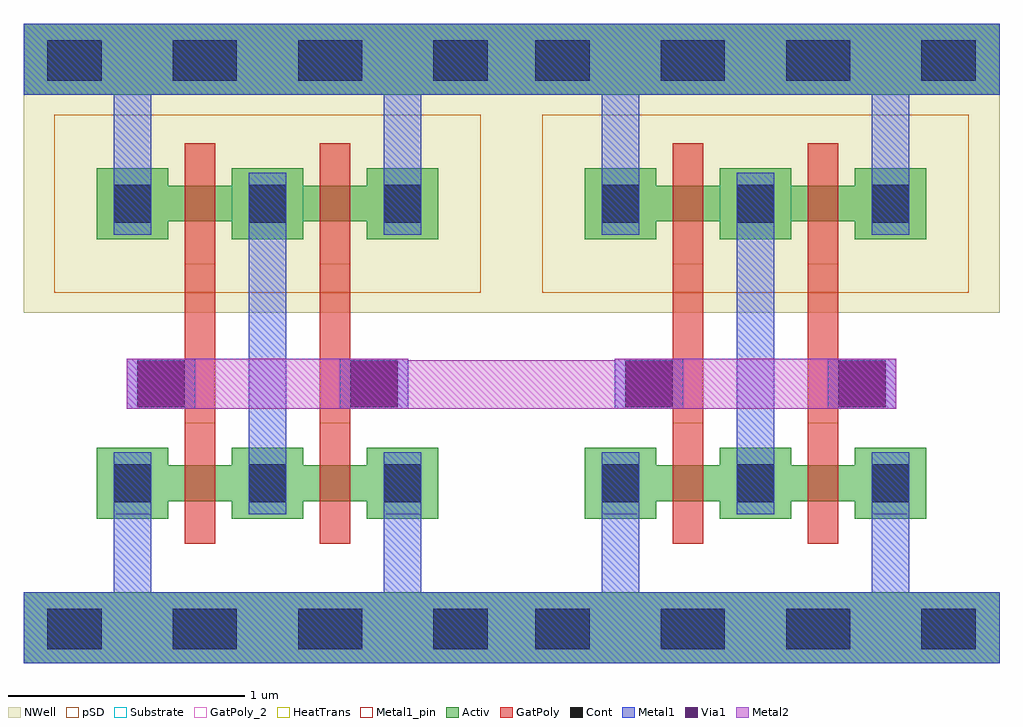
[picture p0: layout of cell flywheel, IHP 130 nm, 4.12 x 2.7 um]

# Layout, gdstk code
from math import pi, radians
import gdstk
lib = gdstk.Library(unit=1e-6, precision=5e-09)
def R(c, l, rs):  # rectangles x0, y0, x1, y1
    for r in rs: c.add(gdstk.rectangle(r[:2], r[2:], *l))
Activ = (1, 0)
GatPoly = (5, 0)
GatPoly_2 = (5, 2)
Cont = (6, 0)
Metal1 = (8, 0)
Metal1_pin = (8, 2)
Metal2 = (10, 0)
pSD = (14, 0)
Via1 = (19, 0)
NWell = (31, 0)
Substrate = (40, 0)
HeatTrans = (51, 0)

pmos_1 = lib.new_cell('pmos$1')
R(pmos_1, Activ, [(0,0,0.3,0.3), (0.57,0,0.87,0.3), (0,0.075,0.87,0.225)])
R(pmos_1, GatPoly, [(0.37,-0.105,0.5,0.405), (0.37,-0.105,0.5,0.405)])
R(pmos_1, Cont, [(0.07,0.07,0.23,0.23), (0.64,0.07,0.8,0.23)])
R(pmos_1, Metal1, [(0.07,0.02,0.23,0.28), (0.07,0.02,0.23,0.28), (0.64,0.02,0.8,0.28), (0.64,0.02,0.8,0.28)])
R(pmos_1, pSD, [(-0.18,-0.225,1.05,0.525)])
R(pmos_1, NWell, [(-0.31,-0.31,1.18,0.61)])
R(pmos_1, Substrate, [(0.57,0,0.87,0.3)])
R(pmos_1, HeatTrans, [(0.37,-0.105,0.5,0.405)])
pmos_1.add(gdstk.Label('pmos', (0.435,0.15), layer=63, texttype=0))
pmos_1.add(gdstk.Label('pmos', (0.435,0.15), layer=51, texttype=0))

nmos_1 = lib.new_cell('nmos$1')
R(nmos_1, Activ, [(0,0,0.3,0.3), (0.57,0,0.87,0.3), (0,0.075,0.87,0.225)])
R(nmos_1, GatPoly, [(0.37,-0.105,0.5,0.405)])
R(nmos_1, GatPoly_2, [(0.37,-0.105,0.5,0.405)])
R(nmos_1, Cont, [(0.07,0.07,0.23,0.23), (0.64,0.07,0.8,0.23)])
R(nmos_1, Metal1, [(0.07,0.02,0.23,0.28), (0.64,0.02,0.8,0.28)])
R(nmos_1, Metal1_pin, [(0.07,0.02,0.23,0.28), (0.64,0.02,0.8,0.28)])
R(nmos_1, HeatTrans, [(0.37,-0.105,0.5,0.405)])
nmos_1.add(gdstk.Label('nmos', (0.435,0.15), layer=63, texttype=0))
nmos_1.add(gdstk.Label('nmos', (0.435,0.15), layer=51, texttype=0))

inv = lib.new_cell('inv')
R(inv, Activ, [(0.24,0.255,1.73,0.555), (0.24,0.255,1.73,0.555), (0.24,2.655,1.73,2.955), (0.24,2.655,1.73,2.955)])
R(inv, GatPoly, [(0.92,0.76,1.05,2.45), (0.92,0.76,1.05,2.45), (0.72,1.335,0.92,1.535), (0.72,1.335,0.92,1.535)])
R(inv, Cont, [(0.34,0.315,0.57,0.485), (0.34,0.315,0.57,0.485), (0.87,0.315,1.1,0.485), (0.87,0.315,1.1,0.485), (1.4,0.315,1.63,0.485), (1.4,0.315,1.63,0.485), (0.72,1.335,0.92,1.535), (0.72,1.335,0.92,1.535), (0.34,2.715,0.57,2.885), (0.34,2.715,0.57,2.885), (0.87,2.715,1.1,2.885), (0.87,2.715,1.1,2.885), (1.4,2.715,1.63,2.885), (1.4,2.715,1.63,2.885)])
R(inv, Metal1, [(0.24,0.255,1.73,0.555), (0.24,0.255,1.73,0.555), (0.62,0.255,0.78,1.145), (0.62,0.255,0.78,1.145), (1.19,0.885,1.35,2.325), (1.19,0.885,1.35,2.325), (0.72,1.335,0.92,1.535), (0.72,1.335,0.92,1.535), (0.62,2.065,0.78,2.955), (0.62,2.065,0.78,2.955), (0.24,2.655,1.73,2.955), (0.24,2.655,1.73,2.955)])
R(inv, Metal1_pin, [(0.24,0.255,1.73,0.555), (0.24,0.255,1.73,0.555), (1.19,0.885,1.35,2.325), (1.19,0.885,1.35,2.325), (0.72,1.335,0.92,1.535), (0.72,1.335,0.92,1.535), (0.24,2.655,1.73,2.955), (0.24,2.655,1.73,2.955)])
R(inv, pSD, [(0.24,0.255,1.73,0.555), (0.24,0.255,1.73,0.555)])
R(inv, NWell, [(0.24,2.655,1.73,2.955), (0.24,2.655,1.73,2.955)])
inv.add(gdstk.Reference(pmos_1, (0.55,2.045)))
inv.add(gdstk.Reference(nmos_1, (0.55,0.865)))
inv.add(gdstk.Label('VIN', (0.78,1.435), layer=8, texttype=25))
inv.add(gdstk.Label('VSS', (0.95,0.37), layer=8, texttype=25))
inv.add(gdstk.Label('VOUT', (1.2,1.665), layer=8, texttype=25))
inv.add(gdstk.Label('VDD', (0.96,2.805), layer=8, texttype=25))
inv.add(gdstk.Label('VIN', (0.78,1.435), layer=8, texttype=25))
inv.add(gdstk.Label('VSS', (0.95,0.37), layer=8, texttype=25))
inv.add(gdstk.Label('VOUT', (1.2,1.665), layer=8, texttype=25))
inv.add(gdstk.Label('VDD', (0.96,2.805), layer=8, texttype=25))

via_stack_1 = lib.new_cell('via_stack$1')
R(via_stack_1, Metal1, [(-0.145,-0.105,0.145,0.105)])
R(via_stack_1, Metal2, [(-0.145,-0.1,0.145,0.1)])
R(via_stack_1, Via1, [(-0.095,-0.095,0.095,0.095)])

inv_d2 = lib.new_cell('inv_d2')
R(inv_d2, Metal2, [(0.675,1.33,1.865,1.54)])
inv_d2.add(gdstk.Reference(inv, (0,0)))
inv_d2.add(gdstk.Reference(inv, (2.54,0), rotation=pi, x_reflection=True))
inv_d2.add(gdstk.Reference(via_stack_1, (0.82,1.435)))
inv_d2.add(gdstk.Reference(via_stack_1, (1.72,1.435)))
inv_d2.add(gdstk.Label('VOUT', (1.19,1.605), layer=8, texttype=25))
inv_d2.add(gdstk.Label('VDD', (0.955,2.765), layer=8, texttype=25))
inv_d2.add(gdstk.Label('VSS', (0.945,0.385), layer=8, texttype=25))
inv_d2.add(gdstk.Label('VIN', (0.76,1.43), layer=8, texttype=25))

flywheel = lib.new_cell('flywheel')
R(flywheel, Metal2, [(1.575,1.33,3.04,1.535)])
flywheel.add(gdstk.Reference(inv_d2, (0,0)))
flywheel.add(gdstk.Reference(inv_d2, (2.06,0)))

lib.write_gds('flywheel.gds')
